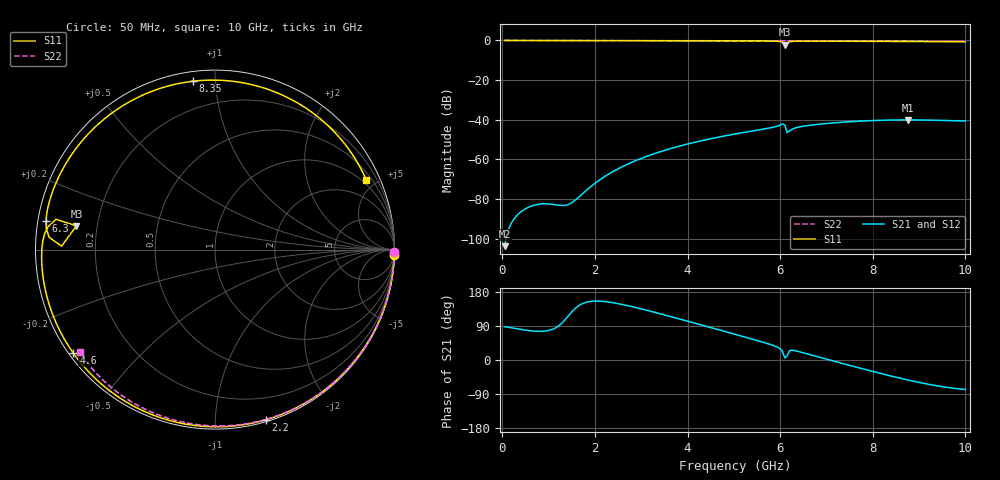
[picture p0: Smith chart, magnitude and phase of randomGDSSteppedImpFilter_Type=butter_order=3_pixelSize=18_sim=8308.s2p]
! freq	dB(S11)	phase(S11)	dB(S12)	phase(S12)
!  dB(S21)	phase(S21)	dB(S22)	phase(S22)
!S-par simulation data
#  GHz  S  DB  R 50
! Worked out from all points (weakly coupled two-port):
!   200 points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, 50 MHz to 10 GHz, reference 50 ohm
!   highest |S21| = -40.09 dB at 8.75 GHz (marker M1); lowest = -103.8 dB at 50 MHz (marker M2)
!   lowest |S11| = -2.1 dB at 6.1 GHz (marker M3), VSWR 8.24, Z = 6.11 + j4.18 ohm
!   |S11| at or under -10 dB: nowhere
!   |S22| runs from -0.5 to 0.0 dB; largest |S21 - S12| = 0
!   S11 on the Smith chart (normalised r, x): 50 MHz: 1, -65; 2.2 GHz: 0.01, -1.34; 4.6 GHz: 0.01, -0.33; 6.3 GHz: 0.02, +0.08; 8.35 GHz: 0.05, +0.88; 10 GHz: 0.78, +4.40
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0.05  -0.00 -1.8  -103.81 87.9  -103.81 87.9  -0.00 -0.8
0.75  -0.03 -25.9  -82.79 75.7  -82.79 75.7  -0.01 -12.3
1.6  -0.07 -54.2  -80.10 138.9  -80.10 138.9  -0.03 -26.1
1.75  -0.07 -59.1  -76.97 149.9  -76.97 149.9  -0.04 -28.5
2.2  -0.09 -73.4  -68.83 154.4  -68.83 154.4  -0.05 -35.6
2.75  -0.11 -90.3  -61.96 142.2  -61.96 142.2  -0.06 -44.2
3.4  -0.14 -109.5  -56.23 122.3  -56.23 122.3  -0.07 -54.2
4.6  -0.20 -143.7  -49.08 82.2  -49.08 82.2  -0.10 -71.8
5.05  -0.22 -156.5  -47.08 66.9  -47.08 66.9  -0.12 -78.2
5.9  -0.35 177.2  -43.48 36.1  -43.48 36.1  -0.15 -90.0
6  -0.52 172.5  -42.68 29.6  -42.68 29.6  -0.16 -91.3
6.05  -0.90 169.2  -42.13 22.3  -42.13 22.3  -0.16 -92.0
6.1  -2.12 170.3  -42.71 5.3  -42.71 5.3  -0.16 -92.7
6.15  -1.36 178.7  -46.45 10.7  -46.45 10.7  -0.17 -93.4
6.2  -0.66 175.7  -45.77 24.2  -45.77 24.2  -0.17 -94.0
6.3  -0.40 170.5  -44.36 25.2  -44.36 25.2  -0.17 -95.4
6.7  -0.35 156.3  -42.62 12.3  -42.62 12.3  -0.19 -100.7
7.5  -0.41 129.3  -41.00 -14.2  -41.00 -14.2  -0.24 -111.1
8.35  -0.48 97.5  -40.18 -41.0  -40.18 -41.0  -0.31 -122.0
8.75  -0.52 81.1  -40.09 -52.5  -40.09 -52.5  -0.35 -127.0
9.35  -0.57 55.0  -40.27 -67.4  -40.27 -67.4  -0.41 -134.6
10  -0.65 24.9  -40.64 -77.8  -40.64 -77.8  -0.48 -142.7
